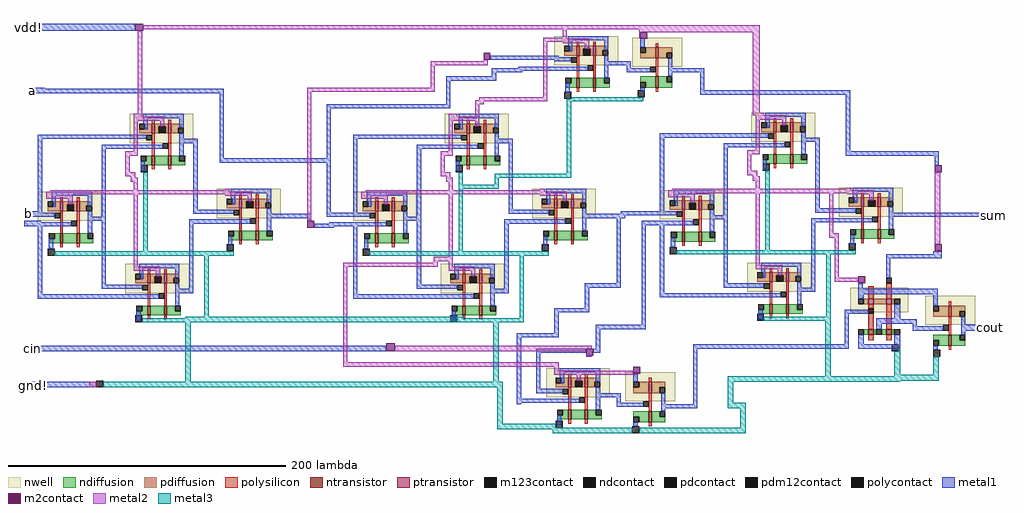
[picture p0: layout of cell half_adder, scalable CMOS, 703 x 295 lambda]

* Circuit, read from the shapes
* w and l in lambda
.subckt half_adder a b cin cout gnd! m sum vdd!
M1 n1 b gnd! VSUBS nfet w=7 l=2
M2 xor_0/2nand_2/in1 m n1 VSUBS nfet w=7 l=2
M3 n2 xor_0/2nand_2/in1 gnd! VSUBS nfet w=7 l=2
M4 n3 b gnd! VSUBS nfet w=7 l=2
M5 xor_0/2nand_3/in2 m n2 VSUBS nfet w=7 l=2
M6 xor_0/2nand_3/in1 xor_0/2nand_2/in1 n3 VSUBS nfet w=7 l=2
M7 n4 xor_0/2nand_3/in1 gnd! VSUBS nfet w=7 l=2
M8 2nand_1/in1 xor_0/2nand_3/in2 n4 VSUBS nfet w=7 l=2
M9 n5 a gnd! VSUBS nfet w=7 l=2
M10 xor_1/2nand_2/in1 2nand_1/in1 n5 VSUBS nfet w=7 l=2
M11 n6 xor_1/2nand_2/in1 gnd! VSUBS nfet w=7 l=2
M12 n7 a gnd! VSUBS nfet w=7 l=2
M13 xor_1/2nand_3/in2 2nand_1/in1 n6 VSUBS nfet w=7 l=2
M14 xor_1/2nand_3/in1 xor_1/2nand_2/in1 n7 VSUBS nfet w=7 l=2
M15 n8 xor_1/2nand_3/in1 gnd! VSUBS nfet w=7 l=2
M16 n9 cin gnd! VSUBS nfet w=7 l=2
M17 2nand_0/in2 xor_1/2nand_3/in2 n8 VSUBS nfet w=7 l=2
M18 n10 2nand_1/in1 gnd! VSUBS nfet w=7 l=2
M19 not_0/in 2nand_0/in2 n9 VSUBS nfet w=7 l=2
M20 not_1/in a n10 VSUBS nfet w=7 l=2
M21 nand2_0/in1 not_0/in gnd! VSUBS nfet w=8 l=2
M22 nand2_0/in2 not_1/in gnd! VSUBS nfet w=8 l=2
M23 n11 2nand_0/in2 gnd! VSUBS nfet w=7 l=2
M24 xor_2/2nand_2/in1 cin n11 VSUBS nfet w=7 l=2
M25 n12 xor_2/2nand_2/in1 gnd! VSUBS nfet w=7 l=2
M26 n13 2nand_0/in2 gnd! VSUBS nfet w=7 l=2
M27 xor_2/2nand_3/in2 cin n12 VSUBS nfet w=7 l=2
M28 xor_2/2nand_3/in1 xor_2/2nand_2/in1 n13 VSUBS nfet w=7 l=2
M29 n14 xor_2/2nand_3/in1 gnd! VSUBS nfet w=7 l=2
M30 not_2/in nand2_0/in1 gnd! VSUBS nfet w=4 l=4
M31 sum xor_2/2nand_3/in2 n14 VSUBS nfet w=7 l=2
M32 gnd! nand2_0/in2 not_2/in VSUBS nfet w=4 l=4
M33 cout not_2/in gnd! VSUBS nfet w=8 l=2
M34 vdd! b xor_0/2nand_2/in1 n15 pfet w=7 l=2
M35 xor_0/2nand_2/in1 m vdd! n15 pfet w=7 l=2
M36 vdd! xor_0/2nand_2/in1 xor_0/2nand_3/in2 n16 pfet w=7 l=2
M37 vdd! b xor_0/2nand_3/in1 n17 pfet w=7 l=2
M38 xor_0/2nand_3/in2 m vdd! n16 pfet w=7 l=2
M39 xor_0/2nand_3/in1 xor_0/2nand_2/in1 vdd! n17 pfet w=7 l=2
M40 vdd! xor_0/2nand_3/in1 2nand_1/in1 n18 pfet w=7 l=2
M41 2nand_1/in1 xor_0/2nand_3/in2 vdd! n18 pfet w=7 l=2
M42 vdd! a xor_1/2nand_2/in1 n19 pfet w=7 l=2
M43 xor_1/2nand_2/in1 2nand_1/in1 vdd! n19 pfet w=7 l=2
M44 vdd! xor_1/2nand_2/in1 xor_1/2nand_3/in2 n20 pfet w=7 l=2
M45 vdd! a xor_1/2nand_3/in1 n21 pfet w=7 l=2
M46 xor_1/2nand_3/in2 2nand_1/in1 vdd! n20 pfet w=7 l=2
M47 xor_1/2nand_3/in1 xor_1/2nand_2/in1 vdd! n21 pfet w=7 l=2
M48 vdd! xor_1/2nand_3/in1 2nand_0/in2 n22 pfet w=7 l=2
M49 vdd! cin not_0/in n23 pfet w=7 l=2
M50 2nand_0/in2 xor_1/2nand_3/in2 vdd! n22 pfet w=7 l=2
M51 vdd! 2nand_1/in1 not_1/in n24 pfet w=7 l=2
M52 not_0/in 2nand_0/in2 vdd! n23 pfet w=7 l=2
M53 not_1/in a vdd! n24 pfet w=7 l=2
M54 nand2_0/in1 not_0/in vdd! n25 pfet w=8 l=2
M55 nand2_0/in2 not_1/in vdd! n26 pfet w=8 l=2
M56 vdd! 2nand_0/in2 xor_2/2nand_2/in1 n27 pfet w=7 l=2
M57 xor_2/2nand_2/in1 cin vdd! n27 pfet w=7 l=2
M58 vdd! xor_2/2nand_2/in1 xor_2/2nand_3/in2 n28 pfet w=7 l=2
M59 vdd! 2nand_0/in2 xor_2/2nand_3/in1 n29 pfet w=7 l=2
M60 xor_2/2nand_3/in2 cin vdd! n28 pfet w=7 l=2
M61 xor_2/2nand_3/in1 xor_2/2nand_2/in1 vdd! n29 pfet w=7 l=2
M62 vdd! xor_2/2nand_3/in1 sum n30 pfet w=7 l=2
M63 n31 nand2_0/in1 vdd! n32 pfet w=4 l=4
M64 sum xor_2/2nand_3/in2 vdd! n30 pfet w=7 l=2
M65 not_2/in nand2_0/in2 n31 n32 pfet w=4 l=4
M66 cout not_2/in vdd! n33 pfet w=8 l=2
.ends

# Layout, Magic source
magic
tech scmos
<< polysilicon >>
rect 594 28 598 30
<< polycontact >>
rect 594 30 598 34
rect 581 8 585 12
<< metal1 >>
rect -26 212 53 217
rect 309 191 358 194
rect 403 187 410 190
rect 329 185 355 186
rect 310 183 355 185
rect 407 185 410 187
rect 310 182 332 183
rect 407 182 412 185
rect 437 182 463 185
rect 310 179 313 182
rect 277 176 313 179
rect -24 170 -12 171
rect -24 167 117 170
rect 114 120 117 167
rect 277 159 280 176
rect 460 169 463 182
rect 460 166 568 169
rect 191 156 280 159
rect 191 120 194 156
rect 565 125 568 166
rect 565 122 632 125
rect 114 117 194 120
rect -27 78 -15 82
rect 191 81 194 117
rect 629 115 632 122
rect 164 77 180 80
rect 191 78 206 81
rect 403 80 429 82
rect 391 79 429 80
rect 391 77 406 79
rect 616 78 673 81
rect 177 75 180 77
rect -27 71 -15 75
rect 193 73 207 74
rect 182 71 207 73
rect 182 70 196 71
rect 400 30 403 77
rect 377 27 403 30
rect 418 72 430 75
rect 377 12 380 27
rect 355 9 380 12
rect 355 -6 358 9
rect 418 0 421 72
rect 628 51 634 53
rect 594 48 634 51
rect 594 34 597 48
rect 574 26 577 30
rect 604 22 631 26
rect 628 20 631 22
rect 328 -9 358 -6
rect 385 -3 421 0
rect 564 8 581 11
rect -23 -19 234 -15
rect -22 -45 25 -41
rect 328 -53 331 -9
rect 385 -17 388 -3
rect 564 -14 567 8
rect 603 5 604 6
rect 603 1 616 4
rect 613 -1 616 1
rect 613 -4 623 -1
rect 651 -4 676 0
rect 342 -20 378 -17
rect 342 -46 345 -20
rect 383 -20 388 -17
rect 455 -17 567 -14
rect 342 -49 354 -46
rect 398 -52 403 -49
rect 328 -56 354 -53
rect 400 -56 403 -52
rect 328 -57 331 -56
rect 400 -59 414 -56
rect 455 -57 458 -17
rect 432 -60 458 -57
<< m2contact >>
rect 53 212 59 217
rect 417 206 422 211
rect 304 191 309 196
rect 629 110 634 115
rect 177 70 182 75
rect 629 53 634 58
rect 574 30 579 35
rect 234 -19 240 -13
rect 378 -22 383 -17
rect 412 -35 417 -30
<< metal2 >>
rect 59 213 503 216
rect 55 149 58 212
rect 361 207 364 213
rect 416 211 503 213
rect 416 207 417 211
rect 347 204 364 207
rect 304 190 307 191
rect 266 187 307 190
rect 266 171 269 187
rect 177 168 269 171
rect 177 75 180 168
rect 347 164 350 204
rect 301 162 350 164
rect 298 161 350 162
rect 298 159 304 161
rect 298 145 301 159
rect 498 151 503 211
rect 553 66 556 98
rect 553 63 560 66
rect 268 46 282 49
rect 268 45 271 46
rect 203 42 271 45
rect 203 -27 206 42
rect 557 34 560 63
rect 629 58 633 110
rect 557 31 574 34
rect 240 -17 382 -15
rect 240 -19 378 -17
rect 378 -23 382 -22
rect 203 -30 358 -27
rect 355 -33 358 -30
rect 355 -36 360 -33
rect 374 -35 412 -33
rect 374 -36 415 -35
rect 20 -45 25 -41
<< m123contact >>
rect 362 163 367 168
rect 415 164 420 169
rect 598 -19 603 -14
rect 628 -23 633 -18
rect 25 -45 30 -40
rect 356 -74 361 -69
rect 411 -78 416 -73
<< metal3 >>
rect 367 163 419 164
rect 364 161 419 163
rect 364 109 367 161
rect 312 106 367 109
rect 312 101 315 106
rect 286 98 315 101
rect 89 2 290 6
rect 89 -41 93 2
rect 311 -41 315 5
rect 550 -37 554 5
rect 603 -19 604 -17
rect 600 -36 604 -19
rect 628 -36 632 -23
rect 600 -37 632 -36
rect 480 -40 632 -37
rect 480 -41 604 -40
rect 30 -45 318 -41
rect 314 -71 318 -45
rect 480 -56 484 -41
rect 480 -60 493 -56
rect 314 -74 356 -71
rect 314 -75 411 -74
rect 354 -78 411 -75
rect 489 -74 493 -60
rect 416 -78 493 -74
use xor  xor_0
transform 1 0 48 0 1 107
box -69 -105 120 45
use xor  xor_1
transform 1 0 275 0 1 107
box -69 -105 120 45
use xor  xor_2
transform 1 0 496 0 1 108
box -69 -105 120 45
use 2nand  2nand_0
transform 1 0 388 0 1 -69
box -39 -3 10 38
use not  not_0
transform 1 0 420 0 1 -57
box -14 -16 22 23
use 2nand  2nand_1
transform 1 0 394 0 1 170
box -39 -3 10 38
use not  not_1
transform 1 0 425 0 1 184
box -14 -16 22 23
use nand2  nand2_0
transform 1 0 586 0 1 8
box -18 -25 24 20
use not  not_2
transform 1 0 636 0 1 -2
box -14 -16 22 23
<< labels >>
rlabel metal1 671 79 671 79 7 sum
rlabel metal1 669 -2 669 -2 1 cout
rlabel metal1 -21 169 -21 169 1 a
rlabel metal1 -24 80 -24 80 3 b
rlabel metal1 -25 72 -25 72 3 m
rlabel metal1 -21 -17 -21 -17 1 cin
rlabel metal1 -24 214 -24 214 4 vdd!
rlabel metal1 -21 -44 -20 -43 1 gnd!
<< end >>

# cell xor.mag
magic
tech scmos
<< metal1 >>
rect -65 27 1 30
rect -65 -26 -62 27
rect -19 20 4 23
rect -69 -29 -65 -26
rect -19 -29 -16 20
rect 47 -24 50 24
rect 47 -27 67 -24
rect -18 -32 -16 -29
rect 113 -30 120 -27
rect -69 -36 -62 -33
rect -65 -85 -62 -36
rect -19 -78 -16 -32
rect 44 -32 64 -31
rect 44 -34 74 -32
rect -19 -81 1 -78
rect 44 -81 47 -34
rect -65 -88 -2 -85
<< metal2 >>
rect 4 18 7 45
rect -2 15 7 18
rect -2 3 1 15
rect -2 0 5 3
rect 2 -1 5 0
rect 2 -4 7 -1
rect 4 -10 7 -4
rect -56 -13 73 -10
rect 4 -63 7 -13
<< m123contact >>
rect 9 3 14 8
rect -58 -57 -53 -52
rect 71 -54 76 -49
rect 5 -105 10 -100
<< metal3 >>
rect 11 -54 14 3
rect -53 -57 76 -54
rect 55 -102 58 -57
rect 10 -105 58 -102
use 2nand  2nand_3
transform 1 0 103 0 1 -47
box -39 -3 10 38
use 2nand  2nand_2
transform 1 0 37 0 1 -101
box -39 -3 10 38
use 2nand  2nand_1
transform 1 0 -26 0 1 -49
box -39 -3 10 38
use 2nand  2nand_0
transform 1 0 40 0 1 7
box -39 -3 10 38
<< labels >>
rlabel metal1 118 -29 118 -29 7 out1
rlabel metal1 -68 -35 -68 -35 3 in_1
rlabel metal1 -67 -28 -67 -28 3 in_2
<< end >>

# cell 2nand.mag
magic
tech scmos
<< nwell >>
rect -39 17 7 38
<< ntransistor >>
rect -23 1 -21 8
rect -11 1 -9 8
<< ptransistor >>
rect -23 24 -21 31
rect -11 24 -9 31
<< ndiffusion >>
rect -27 4 -23 8
rect -31 1 -23 4
rect -21 1 -11 8
rect -9 4 -3 8
rect -9 1 1 4
<< pdiffusion >>
rect -28 27 -23 31
rect -32 24 -23 27
rect -21 29 -11 31
rect -21 24 -18 29
rect -13 24 -11 29
rect -9 28 0 31
rect -9 24 -4 28
<< ndcontact >>
rect -31 4 -27 8
rect -3 4 1 8
<< pdcontact >>
rect -32 27 -28 31
rect -18 24 -13 29
rect -4 24 0 28
<< polysilicon >>
rect -23 31 -21 34
rect -11 31 -9 34
rect -23 8 -21 24
rect -11 8 -9 24
rect -23 -2 -21 1
rect -11 -2 -9 1
<< polycontact >>
rect -27 19 -23 23
rect -15 13 -11 17
<< metal1 >>
rect -29 35 0 38
rect -29 31 -26 35
rect -28 27 -26 31
rect -17 29 -14 31
rect -3 28 0 35
rect -39 20 -27 23
rect -3 20 0 24
rect -3 17 10 20
rect -39 13 -15 16
rect -3 8 0 17
rect -31 -3 -28 4
<< pdm12contact >>
rect -18 24 -13 29
<< metal2 >>
rect -33 36 -30 38
rect -33 33 -14 36
rect -17 29 -14 33
<< labels >>
rlabel metal1 9 18 9 18 7 out
rlabel ndcontact -29 6 -29 6 1 gnd!
rlabel metal2 -32 36 -32 36 5 vdd!
rlabel metal1 -38 21 -38 21 3 in1
rlabel metal1 -37 14 -37 14 3 in2
<< end >>

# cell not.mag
magic
tech scmos
<< nwell >>
rect -14 2 22 23
<< ntransistor >>
rect 3 -13 5 -5
<< ptransistor >>
rect 3 8 5 16
<< ndiffusion >>
rect -8 -9 3 -5
rect -4 -13 3 -9
rect 5 -9 11 -5
rect 5 -13 15 -9
<< pdiffusion >>
rect -4 12 3 16
rect -8 8 3 12
rect 5 12 15 16
rect 5 8 11 12
<< ndcontact >>
rect -8 -13 -4 -9
rect 11 -9 15 -5
<< pdcontact >>
rect -8 12 -4 16
rect 11 8 15 12
<< polysilicon >>
rect 3 16 5 19
rect 3 -5 5 8
rect 3 -16 5 -13
<< polycontact >>
rect -1 -2 3 2
<< metal1 >>
rect -8 16 -5 23
rect -14 -2 -1 1
rect 12 -5 15 8
rect -8 -16 -5 -13
<< labels >>
rlabel metal1 -13 -1 -13 -1 3 in
rlabel metal1 14 0 14 0 1 out
rlabel metal1 -6 21 -6 21 5 vdd!
rlabel metal1 -7 -15 -7 -15 1 gnd!
<< end >>

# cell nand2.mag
magic
tech scmos
<< nwell >>
rect -18 1 24 19
<< ntransistor >>
rect -5 -15 -1 -11
rect 8 -15 12 -11
<< ptransistor >>
rect -5 7 -1 11
rect 8 7 12 11
<< ndiffusion >>
rect -8 -15 -5 -11
rect -1 -15 1 -11
rect 5 -15 8 -11
rect 12 -15 14 -11
<< pdiffusion >>
rect -8 7 -5 11
rect -1 7 8 11
rect 12 7 14 11
<< ndcontact >>
rect -12 -15 -8 -11
rect 1 -15 5 -11
rect 14 -15 18 -11
<< pdcontact >>
rect -12 7 -8 11
rect 14 7 18 11
<< polysilicon >>
rect -5 11 -1 20
rect 8 11 12 20
rect -5 -11 -1 7
rect 8 -11 12 7
rect -5 -19 -1 -15
rect 8 -19 12 -15
<< metal1 >>
rect -12 14 18 18
rect -12 11 -8 14
rect 14 -3 18 7
rect 1 -7 18 -3
rect 1 -11 5 -7
rect -12 -22 -8 -15
rect 14 -22 18 -15
rect -12 -25 18 -22
<< labels >>
rlabel metal1 16 -3 16 -3 1 out
rlabel polysilicon -3 19 -3 19 5 in1
rlabel polysilicon 10 19 10 19 5 in2
rlabel metal1 -10 15 -10 15 5 vdd!
rlabel metal1 2 -23 2 -23 1 gnd!
<< end >>
